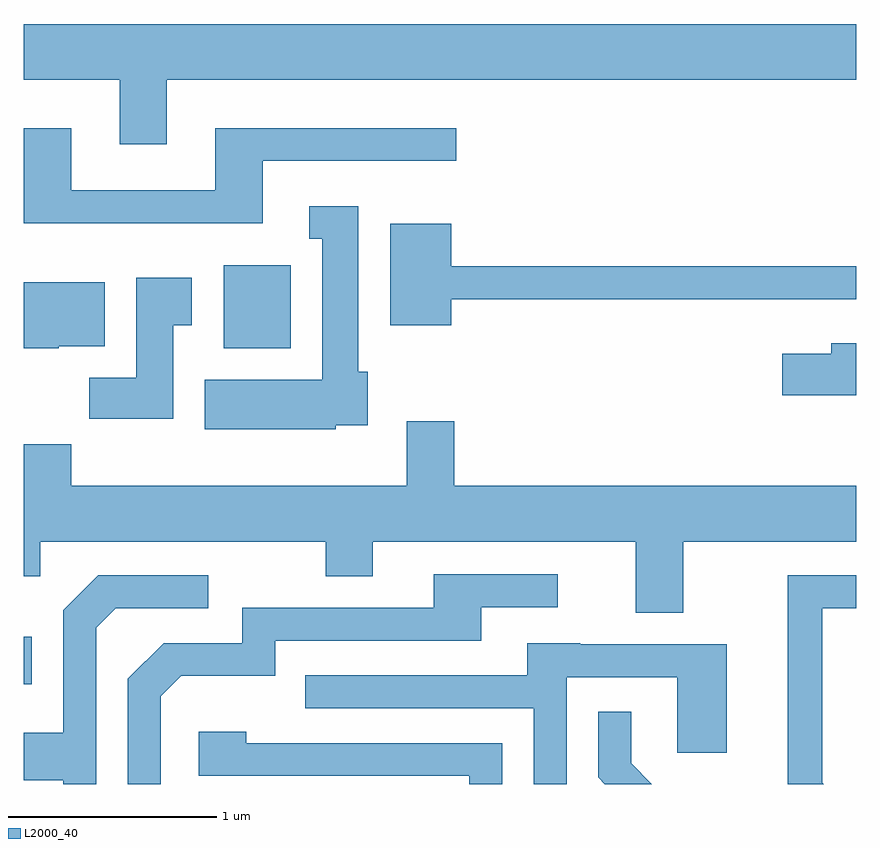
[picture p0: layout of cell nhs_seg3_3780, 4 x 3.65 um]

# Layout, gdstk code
import gdstk
lib = gdstk.Library(unit=1e-6, precision=1e-09)
def R(c, l, rs):  # rectangles x0, y0, x1, y1
    for r in rs: c.add(gdstk.rectangle(r[:2], r[2:], *l))
def P(c, l, *ps):  # polygons
    for p in ps: c.add(gdstk.Polygon(p, *l))
L2000_40 = (2000, 40)

nhs_seg3_3780 = lib.new_cell('nhs_seg3_3780')
R(nhs_seg3_3780, L2000_40, [(295.611,1196.371,295.649,1196.599), (296.571,1197.986,296.894,1198.384)])
P(nhs_seg3_3780, L2000_40, [(296.299,1199.276),(299.611,1199.276),(299.611,1199.544),(295.611,1199.544),(295.611,1199.276),(296.071,1199.276),(296.071,1198.966),(296.299,1198.966)],
  [(296.759,1198.886),(297.688,1198.886),(297.688,1199.044),(296.531,1199.044),(296.531,1198.744),(295.839,1198.744),(295.839,1199.044),(295.611,1199.044),(295.611,1198.586),(296.759,1198.586)],
  [(297.109,1197.616),(297.264,1197.616),(297.264,1197.874),(297.219,1197.874),(297.219,1198.669),(296.983,1198.669),(296.983,1198.511),(297.046,1198.511),(297.046,1197.834),(296.481,1197.834),(296.481,1197.596),(297.109,1197.596)],
  [(297.664,1198.221),(299.611,1198.221),(299.611,1198.379),(297.664,1198.379),(297.664,1198.584),(297.371,1198.584),(297.371,1198.096),(297.664,1198.096)],
  [(296.329,1198.096),(296.419,1198.096),(296.419,1198.324),(296.151,1198.324),(296.151,1197.844),(295.926,1197.844),(295.926,1197.646),(296.329,1197.646)],
  [(295.78,1197.996),(295.999,1197.996),(295.999,1198.304),(295.611,1198.304),(295.611,1197.986),(295.78,1197.986)],
  [(299.611,1198.009),(299.491,1198.009),(299.491,1197.959),(299.256,1197.959),(299.256,1197.761),(299.611,1197.761)],
  [(298.779,1197.056),(299.611,1197.056),(299.611,1197.324),(297.679,1197.324),(297.679,1197.634),(297.451,1197.634),(297.451,1197.324),(295.839,1197.324),(295.839,1197.524),(295.611,1197.524),(295.611,1196.891),(295.689,1196.891),(295.689,1197.056),(297.061,1197.056),(297.061,1196.891),(297.289,1196.891),(297.289,1197.056),(298.551,1197.056),(298.551,1196.716),(298.779,1196.716)],
  [(296.269,1196.314),(296.367,1196.411),(296.819,1196.411),(296.819,1196.581),(297.809,1196.581),(297.809,1196.741),(298.178,1196.741),(298.178,1196.899),(297.581,1196.899),(297.581,1196.739),(296.661,1196.739),(296.661,1196.569),(296.284,1196.569),(296.111,1196.397),(296.111,1195.892),(296.269,1195.892)],
  [(295.959,1196.644),(296.052,1196.736),(296.498,1196.736),(296.498,1196.894),(295.969,1196.894),(295.801,1196.727),(295.801,1196.139),(295.611,1196.139),(295.611,1195.911),(295.801,1195.911),(295.801,1195.892),(295.959,1195.892)],
  [(299.449,1195.897),(299.449,1196.736),(299.611,1196.736),(299.611,1196.894),(299.281,1196.894),(299.281,1195.892),(299.454,1195.892)],
  [(298.219,1196.406),(298.751,1196.406),(298.751,1196.041),(298.989,1196.041),(298.989,1196.564),(298.285,1196.564),(298.285,1196.569),(298.031,1196.569),(298.031,1196.414),(296.963,1196.414),(296.963,1196.256),(298.061,1196.256),(298.061,1195.892),(298.219,1195.892)],
  [(298.529,1195.992),(298.529,1196.238),(298.371,1196.238),(298.371,1195.924),(298.403,1195.892),(298.629,1195.892)],
  [(297.909,1196.089),(296.679,1196.089),(296.679,1196.144),(296.451,1196.144),(296.451,1195.931),(297.751,1195.931),(297.751,1195.892),(297.909,1195.892)])

lib.write_gds('nhs_seg3_3780.gds')
